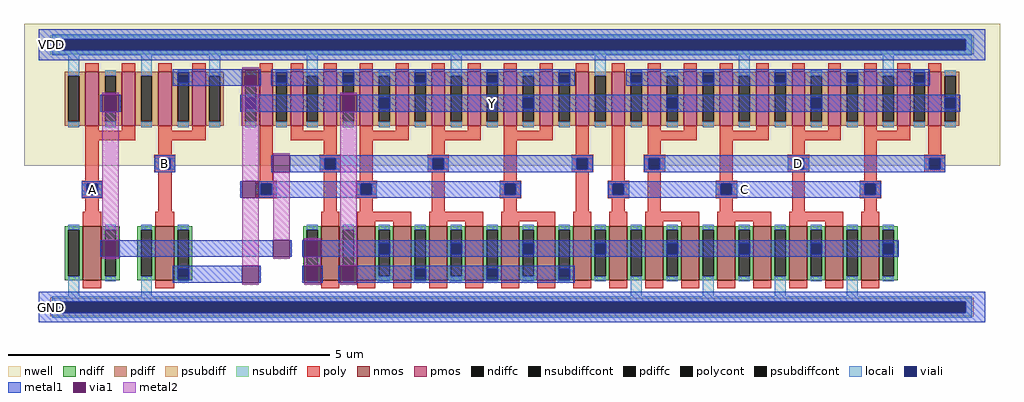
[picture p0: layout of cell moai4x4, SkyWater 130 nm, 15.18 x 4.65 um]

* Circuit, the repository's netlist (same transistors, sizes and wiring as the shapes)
** sch_path: /foss/designs/moai4x4.sch
.subckt moai4x4 A VDD GND B D C Y
*.PININFO A:I VDD:B GND:B B:I D:I C:I Y:O
XM9 Anot A GND GND sky130_fd_pr__nfet_01v8 L=0.29 W=0.84 nf=1
XM10 Anot A VDD VDD sky130_fd_pr__pfet_01v8 L=0.21 W=1.68 nf=2
XM4 Y Anot net3 GND sky130_fd_pr__nfet_01v8 L=0.28 W=3.36 nf=4
XM7 net1 Anot VDD VDD sky130_fd_pr__pfet_01v8 L=0.2 W=4.2 nf=5
XM1 Y Bnot net1 VDD sky130_fd_pr__pfet_01v8 L=0.2 W=4.2 nf=5
XM2 Y D net2 VDD sky130_fd_pr__pfet_01v8 L=0.2 W=4.2 nf=5
XM8 net2 C VDD VDD sky130_fd_pr__pfet_01v8 L=0.2 W=4.2 nf=5
XM11 Bnot B VDD VDD sky130_fd_pr__pfet_01v8 L=0.21 W=1.68 nf=2
XM12 Bnot B GND GND sky130_fd_pr__nfet_01v8 L=0.29 W=0.84 nf=1
XM3 net3 C GND GND sky130_fd_pr__nfet_01v8 L=0.28 W=3.36 nf=4
XM5 net3 D GND GND sky130_fd_pr__nfet_01v8 L=0.28 W=3.36 nf=4
XM6 Y Bnot net3 GND sky130_fd_pr__nfet_01v8 L=0.28 W=3.36 nf=4
.ends

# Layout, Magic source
magic
tech sky130A
magscale 1 2
<< nwell >>
rect -46 440 2990 882
<< nmos >>
rect 137 84 195 252
rect 363 84 421 252
rect 879 84 935 252
rect 991 84 1047 252
rect 1103 84 1159 252
rect 1215 84 1271 252
rect 1327 84 1383 252
rect 1439 84 1495 252
rect 1551 84 1607 252
rect 1663 84 1719 252
rect 1775 84 1831 252
rect 1887 84 1943 252
rect 1999 84 2055 252
rect 2111 84 2167 252
rect 2223 84 2279 252
rect 2335 84 2391 252
rect 2447 84 2503 252
rect 2559 84 2615 252
<< pmos >>
rect 145 564 187 732
rect 258 564 300 732
rect 371 564 413 732
rect 477 564 519 732
rect 687 564 727 732
rect 783 564 823 732
rect 887 564 927 732
rect 999 564 1039 732
rect 1111 564 1151 732
rect 1223 564 1263 732
rect 1335 564 1375 732
rect 1447 564 1487 732
rect 1559 564 1599 732
rect 1671 564 1711 732
rect 1783 564 1823 732
rect 1895 564 1935 732
rect 2007 564 2047 732
rect 2119 564 2159 732
rect 2231 564 2271 732
rect 2343 564 2383 732
rect 2455 564 2495 732
rect 2567 564 2607 732
rect 2671 564 2711 732
rect 2767 564 2807 732
<< ndiff >>
rect 80 240 137 252
rect 80 96 92 240
rect 126 96 137 240
rect 80 84 137 96
rect 195 240 252 252
rect 195 96 206 240
rect 240 96 252 240
rect 195 84 252 96
rect 306 240 363 252
rect 306 96 318 240
rect 352 96 363 240
rect 306 84 363 96
rect 421 240 478 252
rect 421 96 432 240
rect 466 96 478 240
rect 421 84 478 96
rect 822 240 879 252
rect 822 96 834 240
rect 868 96 879 240
rect 822 84 879 96
rect 935 240 991 252
rect 935 96 946 240
rect 980 96 991 240
rect 935 84 991 96
rect 1047 240 1103 252
rect 1047 96 1058 240
rect 1092 96 1103 240
rect 1047 84 1103 96
rect 1159 240 1215 252
rect 1159 96 1170 240
rect 1204 96 1215 240
rect 1159 84 1215 96
rect 1271 240 1327 252
rect 1271 96 1282 240
rect 1316 96 1327 240
rect 1271 84 1327 96
rect 1383 240 1439 252
rect 1383 96 1394 240
rect 1428 96 1439 240
rect 1383 84 1439 96
rect 1495 240 1551 252
rect 1495 96 1506 240
rect 1540 96 1551 240
rect 1495 84 1551 96
rect 1607 240 1663 252
rect 1607 96 1618 240
rect 1652 96 1663 240
rect 1607 84 1663 96
rect 1719 240 1775 252
rect 1719 96 1730 240
rect 1764 96 1775 240
rect 1719 84 1775 96
rect 1831 240 1887 252
rect 1831 96 1842 240
rect 1876 96 1887 240
rect 1831 84 1887 96
rect 1943 240 1999 252
rect 1943 96 1954 240
rect 1988 96 1999 240
rect 1943 84 1999 96
rect 2055 240 2111 252
rect 2055 96 2066 240
rect 2100 96 2111 240
rect 2055 84 2111 96
rect 2167 240 2223 252
rect 2167 96 2178 240
rect 2212 96 2223 240
rect 2167 84 2223 96
rect 2279 240 2335 252
rect 2279 96 2290 240
rect 2324 96 2335 240
rect 2279 84 2335 96
rect 2391 240 2447 252
rect 2391 96 2402 240
rect 2436 96 2447 240
rect 2391 84 2447 96
rect 2503 240 2559 252
rect 2503 96 2514 240
rect 2548 96 2559 240
rect 2503 84 2559 96
rect 2615 240 2672 252
rect 2615 96 2626 240
rect 2660 96 2672 240
rect 2615 84 2672 96
<< pdiff >>
rect 80 720 145 732
rect 80 576 92 720
rect 126 576 145 720
rect 80 564 145 576
rect 187 720 258 732
rect 187 576 206 720
rect 240 576 258 720
rect 187 564 258 576
rect 300 720 371 732
rect 300 576 318 720
rect 352 576 371 720
rect 300 564 371 576
rect 413 720 477 732
rect 413 576 432 720
rect 466 576 477 720
rect 413 564 477 576
rect 519 720 576 732
rect 519 576 530 720
rect 564 576 576 720
rect 519 564 576 576
rect 630 720 687 732
rect 630 576 642 720
rect 676 576 687 720
rect 630 564 687 576
rect 727 720 783 732
rect 727 576 738 720
rect 772 576 783 720
rect 727 564 783 576
rect 823 720 887 732
rect 823 576 834 720
rect 868 576 887 720
rect 823 564 887 576
rect 927 720 999 732
rect 927 576 946 720
rect 980 576 999 720
rect 927 564 999 576
rect 1039 720 1111 732
rect 1039 576 1058 720
rect 1092 576 1111 720
rect 1039 564 1111 576
rect 1151 720 1223 732
rect 1151 576 1170 720
rect 1204 576 1223 720
rect 1151 564 1223 576
rect 1263 720 1335 732
rect 1263 576 1282 720
rect 1316 576 1335 720
rect 1263 564 1335 576
rect 1375 720 1447 732
rect 1375 576 1394 720
rect 1428 576 1447 720
rect 1375 564 1447 576
rect 1487 720 1559 732
rect 1487 576 1506 720
rect 1540 576 1559 720
rect 1487 564 1559 576
rect 1599 720 1671 732
rect 1599 576 1618 720
rect 1652 576 1671 720
rect 1599 564 1671 576
rect 1711 720 1783 732
rect 1711 576 1730 720
rect 1764 576 1783 720
rect 1711 564 1783 576
rect 1823 720 1895 732
rect 1823 576 1842 720
rect 1876 576 1895 720
rect 1823 564 1895 576
rect 1935 720 2007 732
rect 1935 576 1954 720
rect 1988 576 2007 720
rect 1935 564 2007 576
rect 2047 720 2119 732
rect 2047 576 2066 720
rect 2100 576 2119 720
rect 2047 564 2119 576
rect 2159 720 2231 732
rect 2159 576 2178 720
rect 2212 576 2231 720
rect 2159 564 2231 576
rect 2271 720 2343 732
rect 2271 576 2290 720
rect 2324 576 2343 720
rect 2271 564 2343 576
rect 2383 720 2455 732
rect 2383 576 2402 720
rect 2436 576 2455 720
rect 2383 564 2455 576
rect 2495 720 2567 732
rect 2495 576 2514 720
rect 2548 576 2567 720
rect 2495 564 2567 576
rect 2607 720 2671 732
rect 2607 576 2626 720
rect 2660 576 2671 720
rect 2607 564 2671 576
rect 2711 720 2767 732
rect 2711 576 2722 720
rect 2756 576 2767 720
rect 2711 564 2767 576
rect 2807 720 2864 732
rect 2807 576 2818 720
rect 2852 576 2864 720
rect 2807 564 2864 576
<< ndiffc >>
rect 92 96 126 240
rect 206 96 240 240
rect 318 96 352 240
rect 432 96 466 240
rect 834 96 868 240
rect 946 96 980 240
rect 1058 96 1092 240
rect 1170 96 1204 240
rect 1282 96 1316 240
rect 1394 96 1428 240
rect 1506 96 1540 240
rect 1618 96 1652 240
rect 1730 96 1764 240
rect 1842 96 1876 240
rect 1954 96 1988 240
rect 2066 96 2100 240
rect 2178 96 2212 240
rect 2290 96 2324 240
rect 2402 96 2436 240
rect 2514 96 2548 240
rect 2626 96 2660 240
<< pdiffc >>
rect 92 576 126 720
rect 206 576 240 720
rect 318 576 352 720
rect 432 576 466 720
rect 530 576 564 720
rect 642 576 676 720
rect 738 576 772 720
rect 834 576 868 720
rect 946 576 980 720
rect 1058 576 1092 720
rect 1170 576 1204 720
rect 1282 576 1316 720
rect 1394 576 1428 720
rect 1506 576 1540 720
rect 1618 576 1652 720
rect 1730 576 1764 720
rect 1842 576 1876 720
rect 1954 576 1988 720
rect 2066 576 2100 720
rect 2178 576 2212 720
rect 2290 576 2324 720
rect 2402 576 2436 720
rect 2514 576 2548 720
rect 2626 576 2660 720
rect 2722 576 2756 720
rect 2818 576 2852 720
<< psubdiff >>
rect 36 17 2908 29
rect 36 -17 60 17
rect 2884 -17 2908 17
rect 36 -29 2908 -17
<< nsubdiff >>
rect 36 833 2908 845
rect 36 799 60 833
rect 2884 799 2908 833
rect 36 787 2908 799
<< psubdiffcont >>
rect 60 -17 2884 17
<< nsubdiffcont >>
rect 60 799 2884 833
<< poly >>
rect 145 732 187 758
rect 258 732 300 758
rect 371 732 413 758
rect 477 732 519 758
rect 687 732 727 758
rect 783 732 823 758
rect 887 732 927 758
rect 999 732 1039 758
rect 1111 732 1151 758
rect 1223 732 1263 758
rect 1335 732 1375 758
rect 1447 732 1487 758
rect 1559 732 1599 758
rect 1671 732 1711 758
rect 1783 732 1823 758
rect 1895 732 1935 758
rect 2007 732 2047 758
rect 2119 732 2159 758
rect 2231 732 2271 758
rect 2343 732 2383 758
rect 2455 732 2495 758
rect 2567 732 2607 758
rect 2671 732 2711 758
rect 2767 732 2807 758
rect 145 549 187 564
rect 258 549 300 564
rect 145 519 300 549
rect 371 549 413 564
rect 477 549 519 564
rect 371 519 519 549
rect 145 393 187 519
rect 371 473 413 519
rect 359 463 425 473
rect 359 429 375 463
rect 409 429 425 463
rect 359 419 425 429
rect 133 383 199 393
rect 133 349 149 383
rect 183 349 199 383
rect 133 339 199 349
rect 145 297 187 339
rect 371 297 413 419
rect 687 393 727 564
rect 783 549 823 564
rect 887 549 927 564
rect 783 519 927 549
rect 887 473 927 519
rect 999 549 1039 564
rect 1111 549 1151 564
rect 999 519 1151 549
rect 1223 549 1263 564
rect 1335 549 1375 564
rect 1223 519 1375 549
rect 1447 549 1487 564
rect 1559 549 1599 564
rect 1447 519 1599 549
rect 874 463 940 473
rect 874 429 890 463
rect 924 429 940 463
rect 874 419 940 429
rect 674 383 740 393
rect 674 349 690 383
rect 724 349 740 383
rect 674 339 740 349
rect 887 297 927 419
rect 999 393 1039 519
rect 1223 473 1263 519
rect 1210 463 1276 473
rect 1210 429 1226 463
rect 1260 429 1276 463
rect 1210 419 1276 429
rect 986 383 1052 393
rect 986 349 1002 383
rect 1036 349 1052 383
rect 986 339 1052 349
rect 999 297 1039 339
rect 1223 297 1263 419
rect 1447 393 1487 519
rect 1671 473 1711 564
rect 1658 463 1724 473
rect 1658 429 1674 463
rect 1708 429 1724 463
rect 1658 419 1724 429
rect 1434 383 1500 393
rect 1434 349 1450 383
rect 1484 349 1500 383
rect 1434 339 1500 349
rect 1447 297 1487 339
rect 1671 297 1711 419
rect 1783 393 1823 564
rect 1895 549 1935 564
rect 2007 549 2047 564
rect 1895 519 2047 549
rect 2119 549 2159 564
rect 2231 549 2271 564
rect 2119 519 2271 549
rect 2343 549 2383 564
rect 2455 549 2495 564
rect 2343 519 2495 549
rect 2567 549 2607 564
rect 2671 549 2711 564
rect 2567 519 2711 549
rect 1895 473 1935 519
rect 1882 463 1948 473
rect 1882 429 1898 463
rect 1932 429 1948 463
rect 1882 419 1948 429
rect 1770 383 1836 393
rect 1770 349 1786 383
rect 1820 349 1836 383
rect 1770 339 1836 349
rect 1783 297 1823 339
rect 1895 297 1935 419
rect 2119 393 2159 519
rect 2343 473 2383 519
rect 2330 463 2396 473
rect 2330 429 2346 463
rect 2380 429 2396 463
rect 2330 419 2396 429
rect 2106 383 2172 393
rect 2106 349 2122 383
rect 2156 349 2172 383
rect 2106 339 2172 349
rect 2119 297 2159 339
rect 2343 297 2383 419
rect 2567 393 2607 519
rect 2767 473 2807 564
rect 2754 463 2820 473
rect 2754 429 2770 463
rect 2804 429 2820 463
rect 2754 419 2820 429
rect 2554 383 2620 393
rect 2554 349 2570 383
rect 2604 349 2620 383
rect 2554 339 2620 349
rect 2567 297 2607 339
rect 137 252 195 297
rect 363 252 421 297
rect 879 252 935 297
rect 991 267 1159 297
rect 991 252 1047 267
rect 1103 252 1159 267
rect 1215 267 1383 297
rect 1215 252 1271 267
rect 1327 252 1383 267
rect 1439 267 1607 297
rect 1439 252 1495 267
rect 1551 252 1607 267
rect 1663 252 1719 297
rect 1775 252 1831 297
rect 1887 267 2055 297
rect 1887 252 1943 267
rect 1999 252 2055 267
rect 2111 267 2279 297
rect 2111 252 2167 267
rect 2223 252 2279 267
rect 2335 267 2503 297
rect 2335 252 2391 267
rect 2447 252 2503 267
rect 2559 252 2615 297
rect 137 58 195 84
rect 363 58 421 84
rect 879 58 935 84
rect 991 58 1047 84
rect 1103 58 1159 84
rect 1215 58 1271 84
rect 1327 58 1383 84
rect 1439 58 1495 84
rect 1551 58 1607 84
rect 1663 58 1719 84
rect 1775 58 1831 84
rect 1887 58 1943 84
rect 1999 58 2055 84
rect 2111 58 2167 84
rect 2223 58 2279 84
rect 2335 58 2391 84
rect 2447 58 2503 84
rect 2559 58 2615 84
<< polycont >>
rect 375 429 409 463
rect 149 349 183 383
rect 890 429 924 463
rect 690 349 724 383
rect 1226 429 1260 463
rect 1002 349 1036 383
rect 1674 429 1708 463
rect 1450 349 1484 383
rect 1898 429 1932 463
rect 1786 349 1820 383
rect 2346 429 2380 463
rect 2122 349 2156 383
rect 2770 429 2804 463
rect 2570 349 2604 383
<< locali >>
rect 42 833 2902 849
rect 42 799 60 833
rect 2884 799 2902 833
rect 42 783 2902 799
rect 92 720 126 783
rect 92 560 126 576
rect 206 720 240 736
rect 206 560 240 576
rect 318 720 352 783
rect 318 560 352 576
rect 432 731 466 736
rect 432 560 466 576
rect 530 720 564 783
rect 530 560 564 576
rect 642 720 676 736
rect 642 560 676 576
rect 738 731 772 736
rect 738 560 772 576
rect 834 720 868 783
rect 834 560 868 576
rect 946 731 980 736
rect 946 560 980 576
rect 1058 720 1092 736
rect 1058 560 1092 576
rect 1170 731 1204 736
rect 1170 560 1204 576
rect 1282 720 1316 783
rect 1282 560 1316 576
rect 1394 731 1428 736
rect 1394 560 1428 576
rect 1506 720 1540 736
rect 1506 560 1540 576
rect 1618 731 1652 736
rect 1618 560 1652 576
rect 1730 720 1764 783
rect 1730 560 1764 576
rect 1842 731 1876 736
rect 1842 560 1876 576
rect 1954 720 1988 736
rect 1954 560 1988 576
rect 2066 731 2100 736
rect 2066 560 2100 576
rect 2178 720 2212 783
rect 2178 560 2212 576
rect 2290 731 2324 736
rect 2290 560 2324 576
rect 2402 720 2436 736
rect 2402 560 2436 576
rect 2514 731 2548 736
rect 2514 560 2548 576
rect 2626 720 2660 783
rect 2626 560 2660 576
rect 2722 731 2756 736
rect 2722 560 2756 576
rect 2818 720 2852 736
rect 2818 560 2852 576
rect 359 429 375 463
rect 409 429 425 463
rect 874 429 890 463
rect 924 429 940 463
rect 1210 429 1226 463
rect 1260 429 1276 463
rect 1658 429 1674 463
rect 1708 429 1724 463
rect 1882 429 1898 463
rect 1932 429 1948 463
rect 2330 429 2346 463
rect 2380 429 2396 463
rect 2754 429 2770 463
rect 2804 429 2820 463
rect 133 349 149 383
rect 183 349 199 383
rect 674 349 690 383
rect 724 349 740 383
rect 986 349 1002 383
rect 1036 349 1052 383
rect 1434 349 1450 383
rect 1484 349 1500 383
rect 1770 349 1786 383
rect 1820 349 1836 383
rect 2106 349 2122 383
rect 2156 349 2172 383
rect 2554 349 2570 383
rect 2604 349 2620 383
rect 92 240 126 256
rect 92 33 126 96
rect 206 240 240 256
rect 206 80 240 96
rect 318 240 352 256
rect 318 33 352 96
rect 432 240 466 256
rect 432 80 466 85
rect 834 240 868 256
rect 834 80 868 85
rect 946 240 980 256
rect 946 80 980 85
rect 1058 240 1092 256
rect 1058 80 1092 96
rect 1170 240 1204 256
rect 1170 80 1204 85
rect 1282 240 1316 256
rect 1282 80 1316 96
rect 1394 240 1428 256
rect 1394 80 1428 85
rect 1506 240 1540 256
rect 1506 80 1540 96
rect 1618 240 1652 256
rect 1618 80 1652 85
rect 1730 240 1764 256
rect 1730 80 1764 96
rect 1842 240 1876 256
rect 1842 33 1876 96
rect 1954 240 1988 256
rect 1954 80 1988 96
rect 2066 240 2100 256
rect 2066 33 2100 96
rect 2178 240 2212 256
rect 2178 80 2212 96
rect 2290 240 2324 256
rect 2290 33 2324 96
rect 2402 240 2436 256
rect 2402 80 2436 96
rect 2514 240 2548 256
rect 2514 33 2548 96
rect 2626 240 2660 256
rect 2626 80 2660 96
rect 42 17 2902 33
rect 42 -17 60 17
rect 2884 -17 2902 17
rect 42 -33 2902 -17
<< viali >>
rect 60 799 2884 833
rect 206 617 240 651
rect 432 720 466 731
rect 432 697 466 720
rect 642 617 676 651
rect 738 720 772 731
rect 738 697 772 720
rect 946 720 980 731
rect 946 697 980 720
rect 1058 617 1092 651
rect 1170 720 1204 731
rect 1170 697 1204 720
rect 1394 720 1428 731
rect 1394 697 1428 720
rect 1506 617 1540 651
rect 1618 720 1652 731
rect 1618 697 1652 720
rect 1842 720 1876 731
rect 1842 697 1876 720
rect 1954 617 1988 651
rect 2066 720 2100 731
rect 2066 697 2100 720
rect 2290 720 2324 731
rect 2290 697 2324 720
rect 2402 617 2436 651
rect 2514 720 2548 731
rect 2514 697 2548 720
rect 2722 720 2756 731
rect 2722 697 2756 720
rect 2818 617 2852 651
rect 375 429 409 463
rect 890 429 924 463
rect 1226 429 1260 463
rect 1674 429 1708 463
rect 1898 429 1932 463
rect 2346 429 2380 463
rect 2770 429 2804 463
rect 149 349 183 383
rect 690 349 724 383
rect 1002 349 1036 383
rect 1450 349 1484 383
rect 1786 349 1820 383
rect 2122 349 2156 383
rect 2570 349 2604 383
rect 206 165 240 199
rect 432 96 466 119
rect 432 85 466 96
rect 834 96 868 119
rect 834 85 868 96
rect 946 96 980 119
rect 946 85 980 96
rect 1058 165 1092 199
rect 1170 96 1204 119
rect 1170 85 1204 96
rect 1282 165 1316 199
rect 1394 96 1428 119
rect 1394 85 1428 96
rect 1506 165 1540 199
rect 1618 96 1652 119
rect 1618 85 1652 96
rect 1730 165 1764 199
rect 1954 165 1988 199
rect 2178 165 2212 199
rect 2402 165 2436 199
rect 2626 165 2660 199
rect 60 -17 2884 17
<< metal1 >>
rect 0 833 2944 864
rect 0 799 60 833
rect 2884 799 2944 833
rect 0 768 2944 799
rect 417 731 633 740
rect 417 697 432 731
rect 466 697 633 731
rect 417 688 633 697
rect 685 688 691 740
rect 723 731 1667 740
rect 723 697 738 731
rect 772 697 946 731
rect 980 697 1170 731
rect 1204 697 1394 731
rect 1428 697 1618 731
rect 1652 697 1667 731
rect 723 688 1667 697
rect 1827 731 2771 740
rect 1827 697 1842 731
rect 1876 697 2066 731
rect 2100 697 2290 731
rect 2324 697 2514 731
rect 2548 697 2722 731
rect 2756 697 2771 731
rect 1827 688 2771 697
rect 191 608 197 660
rect 249 608 255 660
rect 627 651 937 660
rect 627 617 642 651
rect 676 617 937 651
rect 627 608 937 617
rect 989 651 2867 660
rect 989 617 1058 651
rect 1092 617 1506 651
rect 1540 617 1954 651
rect 1988 617 2402 651
rect 2436 617 2818 651
rect 2852 617 2867 651
rect 989 608 2867 617
rect 360 463 424 472
rect 360 429 375 463
rect 409 429 424 463
rect 360 420 424 429
rect 723 420 729 472
rect 781 463 1723 472
rect 781 429 890 463
rect 924 429 1226 463
rect 1260 429 1674 463
rect 1708 429 1723 463
rect 781 420 1723 429
rect 1883 463 2819 472
rect 1883 429 1898 463
rect 1932 429 2346 463
rect 2380 429 2770 463
rect 2804 429 2819 463
rect 1883 420 2819 429
rect 134 383 198 392
rect 134 349 149 383
rect 183 349 198 383
rect 134 340 198 349
rect 627 340 633 392
rect 685 383 1499 392
rect 685 349 690 383
rect 724 349 1002 383
rect 1036 349 1450 383
rect 1484 349 1499 383
rect 685 340 1499 349
rect 1771 383 2619 392
rect 1771 349 1786 383
rect 1820 349 2122 383
rect 2156 349 2570 383
rect 2604 349 2619 383
rect 1771 340 2619 349
rect 191 156 197 208
rect 249 156 729 208
rect 781 156 787 208
rect 819 156 825 208
rect 877 199 2675 208
rect 877 165 1058 199
rect 1092 165 1282 199
rect 1316 165 1506 199
rect 1540 165 1730 199
rect 1764 165 1954 199
rect 1988 165 2178 199
rect 2212 165 2402 199
rect 2436 165 2626 199
rect 2660 165 2675 199
rect 877 156 2675 165
rect 417 119 633 128
rect 417 85 432 119
rect 466 85 633 119
rect 417 76 633 85
rect 685 76 691 128
rect 819 76 825 128
rect 877 76 883 128
rect 931 76 937 128
rect 989 119 1667 128
rect 989 85 1170 119
rect 1204 85 1394 119
rect 1428 85 1618 119
rect 1652 85 1667 119
rect 989 76 1667 85
rect 0 17 2944 48
rect 0 -17 60 17
rect 2884 -17 2944 17
rect 0 -48 2944 -17
<< via1 >>
rect 633 688 685 740
rect 197 651 249 660
rect 197 617 206 651
rect 206 617 240 651
rect 240 617 249 651
rect 197 608 249 617
rect 937 608 989 660
rect 729 420 781 472
rect 633 340 685 392
rect 197 199 249 208
rect 197 165 206 199
rect 206 165 240 199
rect 240 165 249 199
rect 197 156 249 165
rect 729 156 781 208
rect 825 156 877 208
rect 633 76 685 128
rect 825 119 877 128
rect 825 85 834 119
rect 834 85 868 119
rect 868 85 877 119
rect 825 76 877 85
rect 937 119 989 128
rect 937 85 946 119
rect 946 85 980 119
rect 980 85 989 119
rect 937 76 989 85
<< metal2 >>
rect 633 740 685 746
rect 197 660 249 666
rect 197 208 249 608
rect 197 150 249 156
rect 633 392 685 688
rect 937 660 989 666
rect 633 128 685 340
rect 729 472 781 478
rect 729 208 781 420
rect 729 150 781 156
rect 825 208 877 214
rect 633 70 685 76
rect 825 128 877 156
rect 825 70 877 76
rect 937 128 989 608
rect 937 70 989 76
<< labels >>
rlabel metal1 143 343 189 389 0 A
port 1 nsew
rlabel metal1 10 780 70 852 0 VDD
port 2 nsew
rlabel metal1 10 -36 70 36 0 GND
port 3 nsew
rlabel metal1 369 423 415 469 0 B
port 4 nsew
rlabel metal1 2340 423 2386 469 0 D
port 5 nsew
rlabel metal1 2172 343 2218 389 0 C
port 6 nsew
rlabel metal1 1388 611 1434 657 0 Y
port 7 nsew
<< properties >>
string FIXED_BBOX 0 0 2944 816
<< end >>
